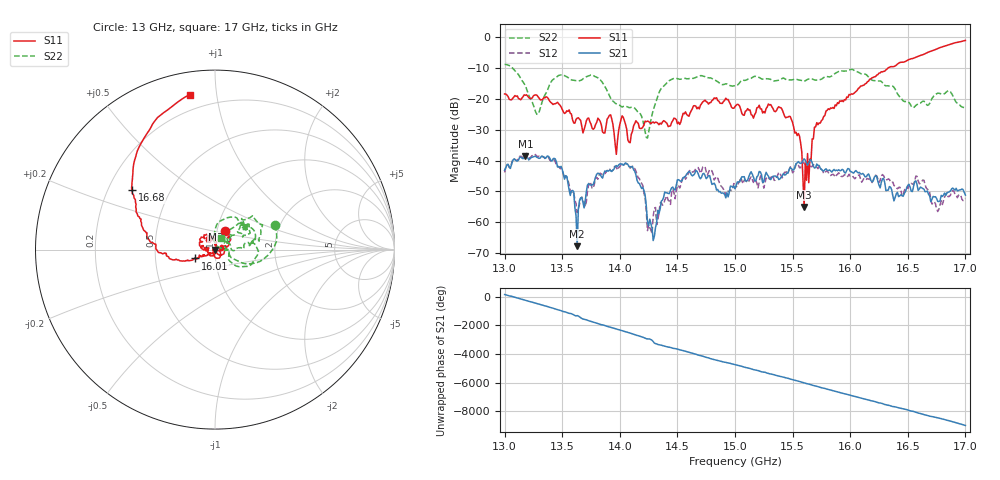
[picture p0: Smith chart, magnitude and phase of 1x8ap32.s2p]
!Keysight Technologies,P9374A,MY57211807,A.19.30.04
!Date: Friday, May 08, 2026 14:35:44
!Correction: S11(C  2-Port  )
!S21(C  2-Port  )
!S12(C  2-Port  )
!S22(C  2-Port  )
!S2P File: Measurements: S11, S21, S12, S22:
# Hz S  dB  R 50
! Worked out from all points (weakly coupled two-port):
!   401 points, 13 GHz to 17 GHz, reference 50 ohm
!   highest |S21| = -38.50 dB at 13.18 GHz (marker M1); lowest = -67.7 dB at 13.63 GHz (marker M2)
!   lowest |S11| = -55.0 dB at 15.6 GHz (marker M3), VSWR 1.00, Z = 50.2 + j0.0363 ohm
!   |S11| at or under -10 dB: start of sweep to 16.33 GHz
!   |S22| runs from -32.7 to -8.9 dB; largest |S21 - S12| = 0.0028
!   S11 on the Smith chart (normalised r, x): 13 GHz: 1.09, +0.23; 16.01 GHz: 0.80, -0.08; 16.68 GHz: 0.30, +0.30; 17 GHz: 0.11, +0.84
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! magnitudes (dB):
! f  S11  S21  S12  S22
! 13 GHz  -18.5  -43.1  -43.8  -8.9
! 13.18 GHz  -18.9  -38.5  -38.3  -15.8
! 13.29 GHz  -19.4  -39.1  -38.7  -25.0
! 13.44 GHz  -21.6  -39.5  -40.3  -13.4
! 13.63 GHz  -26.3  -67.7  -56.8  -14.2
! 13.67 GHz  -28.9  -52.0  -51.8  -13.9
! 14.06 GHz  -29.9  -41.1  -41.0  -22.5
! 14.18 GHz  -29.6  -48.3  -47.0  -25.0
! 14.24 GHz  -27.3  -59.7  -62.7  -32.7
! 14.29 GHz  -27.5  -65.9  -58.0  -23.7
! 14.34 GHz  -28.4  -57.2  -57.1  -18.1
! 14.67 GHz  -23.3  -43.5  -42.4  -13.0
! 15 GHz  -22.6  -49.1  -49.0  -15.8
! 15.4 GHz  -22.9  -45.4  -44.9  -13.7
! 15.55 GHz  -31.3  -40.3  -41.4  -13.9
! 15.6 GHz  -55.0  -39.4  -40.8  -14.4
! 15.67 GHz  -33.0  -40.7  -42.0  -13.6
! 15.79 GHz  -24.0  -42.7  -43.5  -12.8
! 16.01 GHz  -18.4  -43.6  -44.9  -10.5
! 16.34 GHz  -9.8  -48.4  -46.1  -15.9
! 16.68 GHz  -4.9  -50.9  -49.4  -22.0
! 17 GHz  -1.2  -51.2  -52.3  -22.9
